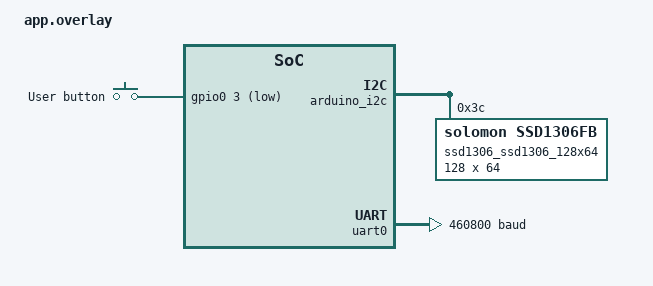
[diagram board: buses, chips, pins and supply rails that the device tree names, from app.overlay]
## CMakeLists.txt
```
# SPDX-License-Identifier: Apache-2.0

cmake_minimum_required(VERSION 3.20.0)

set(BOARD "xiao_ble_sense")
find_package(Zephyr REQUIRED HINTS $ENV{ZEPHYR_BASE})
project(ble_hid_app)

include(utils/cmake/utils.cmake)

# Needed for colorful output
zephyr_compile_options(-fdiagnostics-color=always)

# Use hardware acceleration for DSP and Neural Network code
# You'll need to disable these on non-Arm cores
add_definitions(-DEI_CLASSIFIER_TFLITE_ENABLE_CMSIS_NN=1
                -DARM_MATH_LOOPUNROLL
                )

# Add the Edge Impulse SDK
add_subdirectory(edge-impulse-sdk/cmake/zephyr)

# Edge impulse SDK include directories
set(INCLUDES
    .
    src
    tflite-model
    model-parameters
    include
    )

include_directories(${INCLUDES})


RECURSIVE_FIND_FILE(MODEL_FILES "tflite-model" "*.cpp")
list(APPEND SOURCE_FILES ${MODEL_FILES})

FILE(GLOB_RECURSE app_sources src/*.c)
list(APPEND SOURCE_FILES ${app_sources})

FILE(GLOB_RECURSE app_sources src/*.cpp)
list(APPEND SOURCE_FILES ${app_sources})

target_sources(app PRIVATE
  ${SOURCE_FILES}
  )
# target_sources(app PRIVATE src/main.cpp)
```

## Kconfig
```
# Copyright 2023 Google LLC
# SPDX-License-Identifier: Apache-2.0

mainmenu "Bluetooth: Peripheral HIDs"

config SAMPLE_BT_USE_AUTHENTICATION
	bool "Enable passkey authentication"
	default y
	help
	  Enable the passkey authentication callback and register the GATT
	  read and write attributes as authentication required.

menu "APP CONFIG"
config SHIELD_SSD1306_128X64
    def_bool y
    prompt "SSD1306 128x64 OLED Display DO NOT CHANGE"
    help
        "This is set to default to true to activate the ssd1306 related configurations"
endmenu
# Your application configuration options go here

# Sources Kconfig.zephyr in the Zephyr root directory.
#
# Note: All 'source' statements work relative to the Zephyr root directory (due
# to the $srctree environment variable being set to $ZEPHYR_BASE). If you want
# to 'source' relative to the current Kconfig file instead, use 'rsource' (or a
# path relative to the Zephyr root).

source "boards/shields/ssd1306/Kconfig.defconfig"
source "Kconfig.zephyr"
```

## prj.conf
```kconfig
# Increased stack due to settings API usage
CONFIG_SYSTEM_WORKQUEUE_STACK_SIZE=4096

CONFIG_BT=y
CONFIG_LOG=y
CONFIG_BT_SMP=y
CONFIG_BT_PERIPHERAL=y
CONFIG_BT_DIS=y
CONFIG_BT_BAS=y
CONFIG_BT_DEVICE_NAME="IMU Keyboard"
CONFIG_BT_DEVICE_APPEARANCE=962
CONFIG_SAMPLE_BT_USE_AUTHENTICATION=n

# CONFIG_BT_SETTINGS=y
# CONFIG_FLASH=y
# CONFIG_FLASH_PAGE_LAYOUT=y
# CONFIG_FLASH_MAP=y
# CONFIG_NVS=y
# CONFIG_SETTINGS=y

CONFIG_GPIO=y

# LVGL
CONFIG_LV_Z_MEM_POOL_SIZE=16384
CONFIG_LV_Z_SHELL=y
CONFIG_MAIN_STACK_SIZE=8192

CONFIG_DISPLAY=y
CONFIG_DISPLAY_LOG_LEVEL_ERR=y

CONFIG_LOG=y
CONFIG_SHELL=y

CONFIG_LVGL=y
CONFIG_LV_MEM_CUSTOM=y
CONFIG_LV_USE_LOG=y
CONFIG_LV_USE_LABEL=y
CONFIG_LV_USE_BTN=y
CONFIG_LV_USE_ARC=y
CONFIG_LV_USE_IMG=y
CONFIG_LV_USE_MONKEY=y
CONFIG_LV_FONT_MONTSERRAT_14=y

# IMU sensor
CONFIG_STDOUT_CONSOLE=y
CONFIG_I2C=y
CONFIG_SPI=y
CONFIG_SENSOR=y
CONFIG_LSM6DSL_TRIGGER_GLOBAL_THREAD=y
CONFIG_CBPRINTF_FP_SUPPORT=y
CONFIG_LSM6DSL_GYRO_FS=125
CONFIG_LSM6DSL_GYRO_ODR=5
CONFIG_LSM6DSL_ACCEL_FS=4
CONFIG_LSM6DSL_ACCEL_ODR=5

# CONFIG_LOG_MINIMAL=n
# CONFIG_RTT_CONSOLE=y
# CONFIG_USE_SEGGER_RTT=y
# CONFIG_LOG_BACKEND_RTT=y
# CONFIG_LONG_BACKEND_UART=n


CONFIG_SERIAL=y
CONFIG_UART_ASYNC_API=y
CONFIG_UART_0_INTERRUPT_DRIVEN=n


# Edge Impulse
CONFIG_CPP=y
CONFIG_GLIBCXX_LIBCPP=y
CONFIG_NEWLIB_LIBC=y
CONFIG_NEWLIB_LIBC_FLOAT_PRINTF=y
CONFIG_FPU=y
CONFIG_CONSOLE_SUBSYS=y
CONFIG_CONSOLE_GETLINE=y
CONFIG_ASSERT=y
CONFIG_LOG_PROCESS_THREAD_STACK_SIZE=1024
```

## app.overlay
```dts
#define arduino_i2c i2c1

/ {
    aliases {
            sw0 = &buttond1;
    };


    buttons {
            compatible = "gpio-keys";
            buttond1: button_0 {
                    gpios = <&gpio0 3 (GPIO_PULL_UP | GPIO_ACTIVE_LOW)>;
                    label = "User button";
            };
    };
    
    chosen {
        zephyr,display = &ssd1306_ssd1306_128x64;
    };


    compatible = "flash";
};





&arduino_i2c {
	status = "okay";

	ssd1306_ssd1306_128x64: ssd1306@3c {
		compatible = "solomon,ssd1306fb";
		reg = <0x3c>;
		width = <128>;
		height = <64>;
		segment-offset = <0>;
		page-offset = <0>;
		display-offset = <0>;
		multiplex-ratio = <63>;
		segment-remap;
		com-invdir;
		prechargep = <0x22>;
	};
};
&uart0 {
    current-speed = <460800>;
};
```

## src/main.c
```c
/* main.c - Application main entry point */

/*
 * Copyright (c) 2016 Intel Corporation
 *
 * SPDX-License-Identifier: Apache-2.0
 */

#include <zephyr/types.h>
#include <stddef.h>
#include <string.h>
#include <errno.h>
#include <zephyr/sys/printk.h>
#include <zephyr/sys/byteorder.h>
#include <zephyr/kernel.h>

#include <zephyr/settings/settings.h>

#include <zephyr/bluetooth/bluetooth.h>
#include <zephyr/bluetooth/hci.h>
#include <zephyr/bluetooth/conn.h>
#include <zephyr/bluetooth/uuid.h>
#include <zephyr/bluetooth/gatt.h>

int main(void)
{
	k_sleep(K_FOREVER);
	return 0;
}
```

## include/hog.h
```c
#ifndef HOG_H
#define HOG_H
/** @file
 *  @brief HoG Service sample
 */

/*
 * Copyright (c) 2016 Intel Corporation
 *
 * SPDX-License-Identifier: Apache-2.0
 */

#ifdef __cplusplus
extern "C" {
#endif

void hog_init(void);

void hog_button_loop(void);

typedef uint8_t zmk_mod_flags_t;
typedef uint8_t zmk_mouse_button_flags_t;
struct zmk_hid_keyboard_report_body {
    zmk_mod_flags_t modifiers;
    uint8_t _reserved;
    uint8_t keys[6]; // HKRO
} __packed;
typedef struct zmk_hid_keyboard_report_body zmk_hid_keyboard_report_body_t;

struct zmk_hid_keyboard_report {
    uint8_t report_id;
    struct zmk_hid_keyboard_report_body body;
} __packed;


struct zmk_hid_consumer_report_body {
    uint16_t keys[6];
} __packed;

struct zmk_hid_consumer_report {
    uint8_t report_id;
    struct zmk_hid_consumer_report_body body;
} __packed;

struct zmk_hid_mouse_report_body {
    zmk_mouse_button_flags_t buttons;
    int8_t d_x;
    int8_t d_y;
    int8_t d_wheel;
} __packed;
typedef struct zmk_hid_mouse_report_body zmk_hid_mouse_report_body_t;

struct zmk_hid_mouse_report {
    uint8_t report_id;
    struct zmk_hid_mouse_report_body body;
} __packed;


/**
 * @brief simulate a key press, modify the report
 * 
 * @param k key code
 * @param report pointer to the report
 * @return uint8_t 0 for fail, 1 for success
 */
uint8_t press(uint8_t k, zmk_hid_keyboard_report_body_t *report);

/**
 * @brief simulate a key release, modify the report
 * 
 * @param k key code
 * @param report pointer to the report
 * @return uint8_t 0 for fail, 1 for success
 */
uint8_t release(uint8_t k, zmk_hid_keyboard_report_body_t *report);

/**
 * @brief write a key to the host
 * 
 * @param k key code
 */
void write(uint8_t k);

/**
 * @brief write a string to the host
 * 
 * @param str string
 */
void write_string(const char *str);

extern bool ble_connected;
extern char ble_master_name[32];

#ifdef __cplusplus
}
#endif

#endif /* HOG_H */
```

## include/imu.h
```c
#ifndef IMU_H
#define IMU_H

#ifdef __cplusplus
extern "C" {
#endif

#include <Fusion/Fusion.h>

FusionEuler getEuler();

typedef struct RawIMU {
    float ax, ay, az;
    float gx, gy, gz;
} RawIMU;

typedef struct MotionState {
    float ax, ay, az, vx, vy, vz, px, py, pz;
    float qw, qx, qy, qz;
} MotionState;

typedef struct IMU {
    RawIMU raw;
    MotionState state;
} IMU;


extern float features[1800];
extern volatile bool features_ready;
extern volatile int features_counter;

#ifdef __cplusplus
}
#endif

#endif // IMU_H
```

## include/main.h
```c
#ifndef MAIN_H
#define MAIN_H

#ifdef __cplusplus
extern "C" {
#endif

extern volatile bool inference_done;
extern volatile int inference_result;

#ifdef __cplusplus
}
#endif

#endif // MAIN_H
```

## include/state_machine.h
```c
#ifndef STATE_MACHINE_H
#define STATE_MACHINE_H

#ifdef __cplusplus
extern "C" {
#endif

enum State {
    START,
    PAIR,
    PAIR_DISPLAY,
    DISCONNECT_DISPLAY,
    IDLE,
    COLLECT_DATA,
    INFERENCE,
    DISPLAY_INFERENCE
};

extern volatile State state;



#ifdef __cplusplus
}
#endif

#endif // STATE_MACHINE_H
```

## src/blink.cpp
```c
#include <zephyr/kernel.h>
#include <zephyr/drivers/gpio.h>
#include <state_machine.h>

#define MY_STACK_SIZE 500
#define MY_PRIORITY 5
#define SLEEP_TIME_MS 10


#define LED0_NODE DT_ALIAS(led0)
static const struct gpio_dt_spec red_led = GPIO_DT_SPEC_GET(LED0_NODE, gpios);

#define LED1_NODE DT_ALIAS(led1)
static const struct gpio_dt_spec green_led = GPIO_DT_SPEC_GET(LED1_NODE, gpios);

#define LED2_NODE DT_ALIAS(led2)
static const struct gpio_dt_spec blue_led = GPIO_DT_SPEC_GET(LED2_NODE, gpios);

#define RUN_LED_PERIOD 1000
#define PAIR_LED_PERIOD 100
#define CONNECTED_LED_PERIOD 2000
#define COLLECT_LED_PERIOD 100

bool run_blink = false;
int my_entry_point(void *, void *, void *)
{
    int ret;
	int counter = 0;

	gpio_pin_configure_dt(&red_led, GPIO_OUTPUT_ACTIVE);
	gpio_pin_configure_dt(&green_led, GPIO_OUTPUT_ACTIVE);
	gpio_pin_configure_dt(&blue_led, GPIO_OUTPUT_ACTIVE);
	gpio_pin_set_dt(&red_led, 0);
	gpio_pin_set_dt(&green_led, 0);
	gpio_pin_set_dt(&blue_led, 0);

	while (1) {

		if (run_blink && counter % RUN_LED_PERIOD == 0)
		{
			ret = gpio_pin_toggle_dt(&red_led);
		}

		// blue led states
		if (state == PAIR)
		{
			if (counter % PAIR_LED_PERIOD == 0)
			{
				ret = gpio_pin_toggle_dt(&blue_led);
			}
		} else if (state != START && state != DISCONNECT_DISPLAY)
		{
			if (counter % CONNECTED_LED_PERIOD > 50)
			{
				ret = gpio_pin_set_dt(&blue_led, 0);
			} else 
			{
				ret = gpio_pin_set_dt(&blue_led, 1);
			}
		}

		// green led states
		if (state == IDLE)
		{
			ret = gpio_pin_set_dt(&green_led, 1);
		} else if (state == COLLECT_DATA)
		{
			if (counter % COLLECT_LED_PERIOD == 0)
			{
				ret = gpio_pin_toggle_dt(&green_led);
			}
		} else
		{
			ret = gpio_pin_set_dt(&green_led, 0);
		}

		counter += SLEEP_TIME_MS;
		k_msleep(SLEEP_TIME_MS);
	}
	return 0;
}

K_THREAD_DEFINE(my_tid, MY_STACK_SIZE,
                my_entry_point, NULL, NULL, NULL,
                MY_PRIORITY, 0, 0);
```

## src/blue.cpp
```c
/* main.c - Application main entry point */

/*
 * Copyright (c) 2016 Intel Corporation
 *
 * SPDX-License-Identifier: Apache-2.0
 */

#include <zephyr/types.h>
#include <stddef.h>
#include <string.h>
#include <errno.h>
#include <zephyr/sys/printk.h>
#include <zephyr/sys/byteorder.h>
#include <zephyr/kernel.h>

#include <zephyr/settings/settings.h>

#include <zephyr/bluetooth/bluetooth.h>
#include <zephyr/bluetooth/hci.h>
#include <zephyr/bluetooth/conn.h>
#include <zephyr/bluetooth/uuid.h>
#include <zephyr/bluetooth/gatt.h>

#include "hog.h"
```

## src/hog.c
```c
/** @file
 *  @brief HoG Service sample
 */

/*
 * Copyright (c) 2016 Intel Corporation
 *
 * SPDX-License-Identifier: Apache-2.0
 */

#include <zephyr/types.h>
#include <zephyr/drivers/gpio.h>
#include <stddef.h>
#include <string.h>
#include <errno.h>
#include <zephyr/sys/printk.h>
#include <zephyr/sys/byteorder.h>
#include <zephyr/kernel.h>

#include <zephyr/bluetooth/bluetooth.h>
#include <zephyr/bluetooth/hci.h>
#include <zephyr/bluetooth/conn.h>
#include <zephyr/bluetooth/uuid.h>
#include <zephyr/bluetooth/gatt.h>

#include <zephyr/usb/usb_device.h>
#include <zephyr/usb/class/usb_hid.h>

#include <dt-bindings/zmk/hid_usage.h>
#include <dt-bindings/zmk/hid_usage_pages.h>
#include <hog.h>

enum {
	HIDS_REMOTE_WAKE = BIT(0),
	HIDS_NORMALLY_CONNECTABLE = BIT(1)
};

struct hids_info {
	uint16_t version; /* version number of base USB HID Specification */
	uint8_t code; /* country HID Device hardware is localized for. */
	uint8_t flags;
} __packed;

struct hids_report {
	uint8_t id; /* report id */
	uint8_t type; /* report type */
} __packed;

static struct hids_info info = {
	.version = 0x0000,
	.code = 0x00,
	.flags = HIDS_NORMALLY_CONNECTABLE | HIDS_REMOTE_WAKE,
};

enum {
	HIDS_INPUT = 0x01,
	HIDS_OUTPUT = 0x02,
	HIDS_FEATURE = 0x03,
};

static struct hids_report input = {
	.id = 0x01,
	.type = HIDS_INPUT,
};

static struct hids_report consumer_input = {
    .id = 0x02,
    .type = HIDS_INPUT,
};

static struct hids_report mouse_input = {
    .id = 0x03,
    .type = HIDS_INPUT,
};

static uint8_t simulate_input; // host_requests_notification in zmk
static uint8_t ctrl_point;

#define ZMK_HID_MOUSE_NUM_BUTTONS 0x05

#define ZMK_HID_MAIN_VAL_DATA (0x00 << 0)
#define ZMK_HID_MAIN_VAL_CONST (0x01 << 0)

#define ZMK_HID_MAIN_VAL_ARRAY (0x00 << 1)
#define ZMK_HID_MAIN_VAL_VAR (0x01 << 1)

#define ZMK_HID_MAIN_VAL_ABS (0x00 << 2)
#define ZMK_HID_MAIN_VAL_REL (0x01 << 2)

#define ZMK_HID_MAIN_VAL_NO_WRAP (0x00 << 3)
#define ZMK_HID_MAIN_VAL_WRAP (0x01 << 3)

#define ZMK_HID_MAIN_VAL_LIN (0x00 << 4)
#define ZMK_HID_MAIN_VAL_NON_LIN (0x01 << 4)

#define ZMK_HID_MAIN_VAL_PREFERRED (0x00 << 5)
#define ZMK_HID_MAIN_VAL_NO_PREFERRED (0x01 << 5)

#define ZMK_HID_MAIN_VAL_NO_NULL (0x00 << 6)
#define ZMK_HID_MAIN_VAL_NULL (0x01 << 6)

#define ZMK_HID_MAIN_VAL_NON_VOL (0x00 << 7)
#define ZMK_HID_MAIN_VAL_VOL (0x01 << 7)

#define ZMK_HID_MAIN_VAL_BIT_FIELD (0x00 << 8)
#define ZMK_HID_MAIN_VAL_BUFFERED_BYTES (0x01 << 8)
#define ZMK_HID_REPORT_ID_KEYBOARD 0x01
#define ZMK_HID_REPORT_ID_LEDS 0x01
#define ZMK_HID_REPORT_ID_CONSUMER 0x02
#define ZMK_HID_REPORT_ID_MOUSE 0x03

// ZMK report map
static const uint8_t zmk_hid_report_desc[] = {
    HID_USAGE_PAGE(HID_USAGE_GEN_DESKTOP),
    HID_USAGE(HID_USAGE_GD_KEYBOARD),
    HID_COLLECTION(HID_COLLECTION_APPLICATION),
    HID_REPORT_ID(ZMK_HID_REPORT_ID_KEYBOARD),
    HID_USAGE_PAGE(HID_USAGE_KEY),
    HID_USAGE_MIN8(HID_USAGE_KEY_KEYBOARD_LEFTCONTROL),
    HID_USAGE_MAX8(HID_USAGE_KEY_KEYBOARD_RIGHT_GUI),
    HID_LOGICAL_MIN8(0x00),
    HID_LOGICAL_MAX8(0x01),

    HID_REPORT_SIZE(0x01),
    HID_REPORT_COUNT(0x08),
    HID_INPUT(ZMK_HID_MAIN_VAL_DATA | ZMK_HID_MAIN_VAL_VAR | ZMK_HID_MAIN_VAL_ABS),

    HID_USAGE_PAGE(HID_USAGE_KEY),
    HID_REPORT_SIZE(0x08),
    HID_REPORT_COUNT(0x01),
    HID_INPUT(ZMK_HID_MAIN_VAL_CONST | ZMK_HID_MAIN_VAL_VAR | ZMK_HID_MAIN_VAL_ABS),

    HID_USAGE_PAGE(HID_USAGE_KEY),

    // HKRO
    HID_LOGICAL_MIN8(0x00),
    HID_LOGICAL_MAX16(0xFF, 0x00),
    HID_USAGE_MIN8(0x00),
    HID_USAGE_MAX8(0xFF),
    HID_REPORT_SIZE(0x08),
    HID_REPORT_COUNT(6),//CONFIG_ZMK_HID_KEYBOARD_REPORT_SIZE),
    HID_INPUT(ZMK_HID_MAIN_VAL_DATA | ZMK_HID_MAIN_VAL_ARRAY | ZMK_HID_MAIN_VAL_ABS),

    HID_END_COLLECTION,
    HID_USAGE_PAGE(HID_USAGE_CONSUMER),
    HID_USAGE(HID_USAGE_CONSUMER_CONSUMER_CONTROL),
    HID_COLLECTION(HID_COLLECTION_APPLICATION),
    HID_REPORT_ID(ZMK_HID_REPORT_ID_CONSUMER),
    HID_USAGE_PAGE(HID_USAGE_CONSUMER),

    // Consumer report
    HID_LOGICAL_MIN8(0x00),
    HID_LOGICAL_MAX16(0xFF, 0x0F),
    HID_USAGE_MIN8(0x00),
    HID_USAGE_MAX16(0xFF, 0x0F),
    HID_REPORT_SIZE(0x10),
    HID_REPORT_COUNT(6),//CONFIG_ZMK_HID_CONSUMER_REPORT_SIZE),
    HID_INPUT(ZMK_HID_MAIN_VAL_DATA | ZMK_HID_MAIN_VAL_ARRAY | ZMK_HID_MAIN_VAL_ABS),
    HID_END_COLLECTION,

    // Mouse report
    HID_USAGE_PAGE(HID_USAGE_GD),
    HID_USAGE(HID_USAGE_GD_MOUSE),
    HID_COLLECTION(HID_COLLECTION_APPLICATION),
    HID_REPORT_ID(ZMK_HID_REPORT_ID_MOUSE),
    HID_USAGE(HID_USAGE_GD_POINTER),
    HID_COLLECTION(HID_COLLECTION_PHYSICAL),
    HID_USAGE_PAGE(HID_USAGE_BUTTON),
    HID_USAGE_MIN8(0x1),
    HID_USAGE_MAX8(ZMK_HID_MOUSE_NUM_BUTTONS),
    HID_LOGICAL_MIN8(0x00),
    HID_LOGICAL_MAX8(0x01),
    HID_REPORT_SIZE(0x01),
    HID_REPORT_COUNT(0x5),
    HID_INPUT(ZMK_HID_MAIN_VAL_DATA | ZMK_HID_MAIN_VAL_VAR | ZMK_HID_MAIN_VAL_ABS),
    // Constant padding for the last 3 bits.
    HID_REPORT_SIZE(0x03),
    HID_REPORT_COUNT(0x01),
    HID_INPUT(ZMK_HID_MAIN_VAL_CONST | ZMK_HID_MAIN_VAL_VAR | ZMK_HID_MAIN_VAL_ABS),
    // Some OSes ignore pointer devices without X/Y data.
    HID_USAGE_PAGE(HID_USAGE_GEN_DESKTOP),
    HID_USAGE(HID_USAGE_GD_X),
    HID_USAGE(HID_USAGE_GD_Y),
    HID_USAGE(HID_USAGE_GD_WHEEL),
    HID_LOGICAL_MIN8(-0x7F),
    HID_LOGICAL_MAX8(0x7F),
    HID_REPORT_SIZE(0x08),
    HID_REPORT_COUNT(0x03),
    HID_INPUT(ZMK_HID_MAIN_VAL_DATA | ZMK_HID_MAIN_VAL_VAR | ZMK_HID_MAIN_VAL_REL),
    HID_END_COLLECTION,
    HID_END_COLLECTION,
};


// buffers
static struct zmk_hid_keyboard_report keyboard_report = {

    .report_id = 0x01, .body = {.modifiers = 0, ._reserved = 0, .keys = {0}}};

static struct zmk_hid_consumer_report consumer_report = {.report_id = 0x02,
                                                         .body = {.keys = {0}}};

static struct zmk_hid_mouse_report mouse_report = {.report_id = 0x03,
                                                   .body = {.buttons = 0}};

struct zmk_hid_keyboard_report *zmk_hid_get_keyboard_report(void) {
    return &keyboard_report;
}

struct zmk_hid_consumer_report *zmk_hid_get_consumer_report(void) {
    return &consumer_report;
}

struct zmk_hid_mouse_report *zmk_hid_get_mouse_report(void) {
    return &mouse_report;
}

/* begin zmk read functions */
static ssize_t read_hids_info(struct bt_conn *conn, const struct bt_gatt_attr *attr, void *buf,
                              uint16_t len, uint16_t offset) {
    return bt_gatt_attr_read(conn, attr, buf, len, offset, attr->user_data,
                             sizeof(struct hids_info));
} // note this is the same as read_info

static ssize_t read_hids_report_ref(struct bt_conn *conn, const struct bt_gatt_attr *attr,
                                    void *buf, uint16_t len, uint16_t offset) {
    return bt_gatt_attr_read(conn, attr, buf, len, offset, attr->user_data,
                             sizeof(struct hids_report));
} // note this is the same as read_report

static ssize_t read_hids_report_map(struct bt_conn *conn, const struct bt_gatt_attr *attr,
                                    void *buf, uint16_t len, uint16_t offset) {
    return bt_gatt_attr_read(conn, attr, buf, len, offset, zmk_hid_report_desc,
                             sizeof(zmk_hid_report_desc));
}

static ssize_t read_hids_input_report(struct bt_conn *conn, const struct bt_gatt_attr *attr,
                                      void *buf, uint16_t len, uint16_t offset) {
    struct zmk_hid_keyboard_report_body *report_body = &zmk_hid_get_keyboard_report()->body;
    return bt_gatt_attr_read(conn, attr, buf, len, offset, report_body,
                             sizeof(struct zmk_hid_keyboard_report_body));
}

static ssize_t read_hids_consumer_input_report(struct bt_conn *conn,
                                               const struct bt_gatt_attr *attr, void *buf,
                                               uint16_t len, uint16_t offset) {
    struct zmk_hid_consumer_report_body *report_body = &zmk_hid_get_consumer_report()->body;
    return bt_gatt_attr_read(conn, attr, buf, len, offset, report_body,
                             sizeof(struct zmk_hid_consumer_report_body));
}

static ssize_t read_hids_mouse_input_report(struct bt_conn *conn, const struct bt_gatt_attr *attr,
                                            void *buf, uint16_t len, uint16_t offset) {
    struct zmk_hid_mouse_report_body *report_body = &zmk_hid_get_mouse_report()->body;
    return bt_gatt_attr_read(conn, attr, buf, len, offset, report_body,
                             sizeof(struct zmk_hid_mouse_report_body));
}
/* end zmk read functions */



static void input_ccc_changed(const struct bt_gatt_attr *attr, uint16_t value)
{
	simulate_input = (value == BT_GATT_CCC_NOTIFY) ? 1 : 0;
}


static ssize_t write_ctrl_point(struct bt_conn *conn,
				const struct bt_gatt_attr *attr,
				const void *buf, uint16_t len, uint16_t offset,
				uint8_t flags)
{
	uint8_t *value = attr->user_data;

	if (offset + len > sizeof(ctrl_point)) {
		return BT_GATT_ERR(BT_ATT_ERR_INVALID_OFFSET);
	}

	memcpy(value + offset, buf, len);

	return len;
}

#if CONFIG_SAMPLE_BT_USE_AUTHENTICATION
/* Require encryption using authenticated link-key. */
#define SAMPLE_BT_PERM_READ BT_GATT_PERM_READ_AUTHEN
#define SAMPLE_BT_PERM_WRITE BT_GATT_PERM_WRITE_AUTHEN
#else
/* Require encryption. */
#define SAMPLE_BT_PERM_READ BT_GATT_PERM_READ_ENCRYPT
#define SAMPLE_BT_PERM_WRITE BT_GATT_PERM_WRITE_ENCRYPT
#endif

/* HID Service Declaration */
BT_GATT_SERVICE_DEFINE(
    hog_svc, BT_GATT_PRIMARY_SERVICE(BT_UUID_HIDS),
    //    BT_GATT_CHARACTERISTIC(BT_UUID_HIDS_PROTOCOL_MODE, BT_GATT_CHRC_WRITE_WITHOUT_RESP,
    //                           BT_GATT_PERM_WRITE, NULL, write_proto_mode, &proto_mode),
    BT_GATT_CHARACTERISTIC(BT_UUID_HIDS_INFO, BT_GATT_CHRC_READ, BT_GATT_PERM_READ, read_hids_info,
                           NULL, &info),
    BT_GATT_CHARACTERISTIC(BT_UUID_HIDS_REPORT_MAP, BT_GATT_CHRC_READ, BT_GATT_PERM_READ_ENCRYPT,
                           read_hids_report_map, NULL, NULL),

    BT_GATT_CHARACTERISTIC(BT_UUID_HIDS_REPORT, BT_GATT_CHRC_READ | BT_GATT_CHRC_NOTIFY,
                           BT_GATT_PERM_READ_ENCRYPT, read_hids_input_report, NULL, NULL),
    BT_GATT_CCC(input_ccc_changed, BT_GATT_PERM_READ_ENCRYPT | BT_GATT_PERM_WRITE_ENCRYPT),
    BT_GATT_DESCRIPTOR(BT_UUID_HIDS_REPORT_REF, BT_GATT_PERM_READ_ENCRYPT, read_hids_report_ref,
                       NULL, &input),

    BT_GATT_CHARACTERISTIC(BT_UUID_HIDS_REPORT, BT_GATT_CHRC_READ | BT_GATT_CHRC_NOTIFY,
                           BT_GATT_PERM_READ_ENCRYPT, read_hids_consumer_input_report, NULL, NULL),
    BT_GATT_CCC(input_ccc_changed, BT_GATT_PERM_READ_ENCRYPT | BT_GATT_PERM_WRITE_ENCRYPT),
    BT_GATT_DESCRIPTOR(BT_UUID_HIDS_REPORT_REF, BT_GATT_PERM_READ_ENCRYPT, read_hids_report_ref,
                       NULL, &consumer_input),

    BT_GATT_CHARACTERISTIC(BT_UUID_HIDS_REPORT, BT_GATT_CHRC_READ | BT_GATT_CHRC_NOTIFY,
                           BT_GATT_PERM_READ_ENCRYPT, read_hids_mouse_input_report, NULL, NULL),
    BT_GATT_CCC(input_ccc_changed, BT_GATT_PERM_READ_ENCRYPT | BT_GATT_PERM_WRITE_ENCRYPT),
    BT_GATT_DESCRIPTOR(BT_UUID_HIDS_REPORT_REF, BT_GATT_PERM_READ_ENCRYPT, read_hids_report_ref,
                       NULL, &mouse_input),

    BT_GATT_CHARACTERISTIC(BT_UUID_HIDS_CTRL_POINT, BT_GATT_CHRC_WRITE_WITHOUT_RESP,
                           BT_GATT_PERM_WRITE, NULL, write_ctrl_point, &ctrl_point));


void hog_init(void)
{
}

#define SW0_NODE DT_ALIAS(sw0)
#define SHIFT 0x80
const uint8_t _asciimap[128] =
{
	0x00,             // NUL
	0x00,             // SOH
	0x00,             // STX
	0x00,             // ETX
	0x00,             // EOT
	0x00,             // ENQ
	0x00,             // ACK
	0x00,             // BEL
	0x2a,			// BS	Backspace
	0x2b,			// TAB	Tab
	0x28,			// LF	Enter
	0x00,             // VT
	0x00,             // FF
	0x00,             // CR
	0x00,             // SO
	0x00,             // SI
	0x00,             // DEL
	0x00,             // DC1
	0x00,             // DC2
	0x00,             // DC3
	0x00,             // DC4
	0x00,             // NAK
	0x00,             // SYN
	0x00,             // ETB
	0x00,             // CAN
	0x00,             // EM
	0x00,             // SUB
	0x00,             // ESC
	0x00,             // FS
	0x00,             // GS
	0x00,             // RS
	0x00,             // US

	0x2c,		   //  ' '
	0x1e|SHIFT,	   // !
	0x34|SHIFT,	   // "
	0x20|SHIFT,    // #
	0x21|SHIFT,    // $
	0x22|SHIFT,    // %
	0x24|SHIFT,    // &
	0x34,          // '
	0x26|SHIFT,    // (
	0x27|SHIFT,    // )
	0x25|SHIFT,    // *
	0x2e|SHIFT,    // +
	0x36,          // ,
	0x2d,          // -
	0x37,          // .
	0x38,          // /
	0x27,          // 0
	0x1e,          // 1
	0x1f,          // 2
	0x20,          // 3
	0x21,          // 4
	0x22,          // 5
	0x23,          // 6
	0x24,          // 7
	0x25,          // 8
	0x26,          // 9
	0x33|SHIFT,      // :
	0x33,          // ;
	0x36|SHIFT,      // <
	0x2e,          // =
	0x37|SHIFT,      // >
	0x38|SHIFT,      // ?
	0x1f|SHIFT,      // @
	0x04|SHIFT,      // A
	0x05|SHIFT,      // B
	0x06|SHIFT,      // C
	0x07|SHIFT,      // D
	0x08|SHIFT,      // E
	0x09|SHIFT,      // F
	0x0a|SHIFT,      // G
	0x0b|SHIFT,      // H
	0x0c|SHIFT,      // I
	0x0d|SHIFT,      // J
	0x0e|SHIFT,      // K
	0x0f|SHIFT,      // L
	0x10|SHIFT,      // M
	0x11|SHIFT,      // N
	0x12|SHIFT,      // O
	0x13|SHIFT,      // P
	0x14|SHIFT,      // Q
	0x15|SHIFT,      // R
	0x16|SHIFT,      // S
	0x17|SHIFT,      // T
	0x18|SHIFT,      // U
	0x19|SHIFT,      // V
	0x1a|SHIFT,      // W
	0x1b|SHIFT,      // X
	0x1c|SHIFT,      // Y
	0x1d|SHIFT,      // Z
	0x2f,          // [
	0x31,          // bslash
	0x30,          // ]
	0x23|SHIFT,    // ^
	0x2d|SHIFT,    // _
	0x35,          // `
	0x04,          // a
	0x05,          // b
	0x06,          // c
	0x07,          // d
	0x08,          // e
	0x09,          // f
	0x0a,          // g
	0x0b,          // h
	0x0c,          // i
	0x0d,          // j
	0x0e,          // k
	0x0f,          // l
	0x10,          // m
	0x11,          // n
	0x12,          // o
	0x13,          // p
	0x14,          // q
	0x15,          // r
	0x16,          // s
	0x17,          // t
	0x18,          // u
	0x19,          // v
	0x1a,          // w
	0x1b,          // x
	0x1c,          // y
	0x1d,          // z
	0x2f|SHIFT,    // {
	0x31|SHIFT,    // |
	0x30|SHIFT,    // }
	0x35|SHIFT,    // ~
	0				// DEL
};

uint8_t press(uint8_t k, zmk_hid_keyboard_report_body_t *report)
{
	uint8_t i;
	if (k >= 136) {			// it's a non-printing key (not a modifier)
		k = k - 136;
	} else if (k >= 128) {	// it's a modifier key
        report->modifiers |= (1 << (k - 128));
		k = 0;
	} else {				// it's a printing key
		k = *(_asciimap + k);
		if (!k) {
			return 0;
		}
		if (k & 0x80) {						// it's a capital letter or other character reached with shift
            report->modifiers |= 0x02; // the left shift modifier
			k &= 0x7F;
		}
	}

	// Add k to the key report only if it's not already present
	// and if there is an empty slot.
	if (report->keys[0] != k && report->keys[1] != k &&
		report->keys[2] != k && report->keys[3] != k &&
		report->keys[4] != k && report->keys[5] != k) {

		for (i=0; i<6; i++) {
			if (report->keys[i] == 0x00) {
				report->keys[i] = k;
				break;
			}
		}
		if (i == 6) {
			return 0;
		}
	}
	return 1;
}

uint8_t release(uint8_t k, zmk_hid_keyboard_report_body_t *report)
{
    uint8_t i;
    if (k >= 136) {			// it's a non-printing key (not a modifier)
        k = k - 136;
    } else if (k >= 128) {	// it's a modifier key
        report->modifiers &= ~(1 << (k - 128));
        k = 0;
    } else {				// it's a printing key
        k = *(_asciimap + k);
        if (!k) {
            return 0;
        }
        if (k & 0x80) {						// it's a capital letter or other character reached with shift
            report->modifiers |= 0x02; // the left shift modifier
            k &= 0x7F;
        }
    }

    // Test the key report to see if k is present.  Clear it if it exists.
    for (i=0; i<6; i++) {
        if (report->keys[i] == k) {
            report->keys[i] = 0x00;
            break;
        }
    }
    return 1;
}

void write(uint8_t k)
{
    zmk_hid_keyboard_report_body_t keyboard_report;
    keyboard_report.modifiers = 0x00;
    keyboard_report._reserved = 0x00;
    keyboard_report.keys[0] = 0x00;
    keyboard_report.keys[1] = 0x00;
    keyboard_report.keys[2] = 0x00;
    keyboard_report.keys[3] = 0x00;
    keyboard_report.keys[4] = 0x00;
    keyboard_report.keys[5] = 0x00;

    if (press(k, &keyboard_report)) {
        bt_gatt_notify(NULL, &hog_svc.attrs[5],
                        &keyboard_report, sizeof(keyboard_report)); // keyboard report template
    }
    // k_sleep(K_MSEC(50));
    if (release(k, &keyboard_report)) {
        bt_gatt_notify(NULL, &hog_svc.attrs[5],
                        &keyboard_report, sizeof(keyboard_report)); // keyboard report template
    }
}

void write_string(const char *str)
{
    while (*str) {
        write(*str++);
    }
}

void hog_button_loop(void)
{
// #if DT_NODE_HAS_STATUS(SW0_NODE, okay)
// 	const struct gpio_dt_spec sw0 = GPIO_DT_SPEC_GET(SW0_NODE, gpios);

// 	gpio_pin_configure_dt(&sw0, GPIO_INPUT);
    char asciiChar = ' ';
    int last_button_state = 0;

	for (;;) {
		if (simulate_input) {
			// keyboard report test
            zmk_hid_keyboard_report_body_t keyboard_report;
            keyboard_report.modifiers = 0x00;
            keyboard_report._reserved = 0x00;
            keyboard_report.keys[0] = 0x00;
            keyboard_report.keys[1] = 0x00;
            keyboard_report.keys[2] = 0x00;
            keyboard_report.keys[3] = 0x00;
            keyboard_report.keys[4] = 0x00;
            keyboard_report.keys[5] = 0x00;
            // int button_state = gpio_pin_get_dt(&sw0);

            // if (last_button_state == 0 && button_state == 1) {
            //     write_string("Hello World\n\n\0");
            //     // write(asciiChar);
            //     // printk("Button pressed\n");
            //     // printk("asciiChar: %c\n", asciiChar);
            //     // printk("asciiChar: %d\n", asciiChar);
            //     // asciiChar++;
            // }

            // bt_gatt_notify(NULL, &hog_svc.attrs[5],
            //                 &keyboard_report, sizeof(keyboard_report)); // keyboard report template
            // last_button_state = button_state;
            

            // if (asciiChar > 'z') {
            //     asciiChar = 'A';
            // } else if (asciiChar > 'Z') {
            //     asciiChar = '0';
            // } else if (asciiChar > '9') {
            //     asciiChar = ' ';
            // } else if (asciiChar > ' ') {
            //     asciiChar = '\n';
            // } else if (asciiChar > '\n') {
            //     asciiChar = 'a';
            // }

            // mouse report test
            // zmk_hid_mouse_report_body_t mouse_report;
            // mouse_report.buttons = 0x00;
            // mouse_report.d_x = 0;
            // mouse_report.d_y = 0;
            // mouse_report.d_wheel = 0x00;

			// if (gpio_pin_get_dt(&sw0)) {
            //     printk("Button pressed\n");
            //     mouse_report.buttons = 0x01;
			// }

			// bt_gatt_notify(NULL, &hog_svc.attrs[13],
			// 	        &mouse_report, sizeof(mouse_report)); // mouse report template
		}
		k_sleep(K_MSEC(100));
	}
// #endif
}


static const struct bt_data ad[] = {
	BT_DATA_BYTES(BT_DATA_FLAGS, (BT_LE_AD_GENERAL | BT_LE_AD_NO_BREDR)),
	BT_DATA_BYTES(BT_DATA_UUID16_ALL,
		      BT_UUID_16_ENCODE(BT_UUID_HIDS_VAL),
		      BT_UUID_16_ENCODE(BT_UUID_BAS_VAL)),
};

bool ble_connected = false;
char ble_master_name[32] = {0};

static void connected(struct bt_conn *conn, uint8_t err)
{
	char addr[BT_ADDR_LE_STR_LEN];

	bt_addr_le_to_str(bt_conn_get_dst(conn), addr, sizeof(addr));

	if (err) {
		printk("Failed to connect to %s (%u)\n", addr, err);
		return;
	}

	printk("Connected %s\n", addr);
	ble_connected = true;
	ble_master_name[0] = '\0';
	strcpy(ble_master_name, addr);

	if (bt_conn_set_security(conn, BT_SECURITY_L2)) {
		printk("Failed to set security\n");
	}
}

static void disconnected(struct bt_conn *conn, uint8_t reason)
{
	char addr[BT_ADDR_LE_STR_LEN];

	bt_addr_le_to_str(bt_conn_get_dst(conn), addr, sizeof(addr));
	ble_connected = false;
	ble_master_name[0] = '\0';
	strcpy(ble_master_name, addr);


	printk("Disconnected from %s (reason 0x%02x)\n", addr, reason);
}

static void security_changed(struct bt_conn *conn, bt_security_t level,
			     enum bt_security_err err)
{
	char addr[BT_ADDR_LE_STR_LEN];

	bt_addr_le_to_str(bt_conn_get_dst(conn), addr, sizeof(addr));

	if (!err) {
		printk("Security changed: %s level %u\n", addr, level);
	} else {
		printk("Security failed: %s level %u err %d\n", addr, level,
		       err);
	}
}

BT_CONN_CB_DEFINE(conn_callbacks) = {
	.connected = connected,
	.disconnected = disconnected,
	.security_changed = security_changed,
};

static void bt_ready(int err)
{
	if (err) {
		printk("Bluetooth init failed (err %d)\n", err);
		return;
	}

	printk("Bluetooth initialized\n");

	hog_init();

	if (IS_ENABLED(CONFIG_SETTINGS)) {
		settings_load();
	}

	err = bt_le_adv_start(BT_LE_ADV_CONN_NAME, ad, ARRAY_SIZE(ad), NULL, 0);
	if (err) {
		printk("Advertising failed to start (err %d)\n", err);
		return;
	}

	printk("Advertising successfully started\n");
}

static void auth_passkey_display(struct bt_conn *conn, unsigned int passkey)
{
	char addr[BT_ADDR_LE_STR_LEN];

	bt_addr_le_to_str(bt_conn_get_dst(conn), addr, sizeof(addr));

	printk("Passkey for %s: %06u\n", addr, passkey);
}

static void auth_cancel(struct bt_conn *conn)
{
	char addr[BT_ADDR_LE_STR_LEN];

	bt_addr_le_to_str(bt_conn_get_dst(conn), addr, sizeof(addr));

	printk("Pairing cancelled: %s\n", addr);
}

static struct bt_conn_auth_cb auth_cb_display = {
	.passkey_display = auth_passkey_display,
	.passkey_entry = NULL,
	.cancel = auth_cancel,
};

int blue_task(void)
{
	int err;

	err = bt_enable(bt_ready);
	if (err) {
		printk("Bluetooth init failed (err %d)\n", err);
		return 0;
	}

	if (IS_ENABLED(CONFIG_SAMPLE_BT_USE_AUTHENTICATION)) {
		bt_conn_auth_cb_register(&auth_cb_display);
		printk("Bluetooth authentication callbacks registered.\n");
	}

	hog_button_loop();
	return 0;
}

K_THREAD_DEFINE(blue_thread, 1024, blue_task, NULL, NULL, NULL, 5, 0, 0);
```

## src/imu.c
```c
#include <zephyr/device.h>
#include <zephyr/devicetree.h>
#include <zephyr/drivers/sensor.h>
#include <zephyr/drivers/gpio.h>
#include <zephyr/kernel.h>
#include <imu.h>
#include <zephyr/drivers/uart.h>

FusionEuler euler;

FusionEuler getEuler()
{
	return euler;
}

#define SAMPLE_PERIOD (0.01f) // replace this with actual sample period

#define LOG_LEVEL CONFIG_LOG_DEFAULT_LEVEL
#include <zephyr/logging/log.h>
LOG_MODULE_REGISTER(imu);

static inline float out_ev(struct sensor_value *val)
{
	return (val->val1 + (float)val->val2 / 1000000);
}

static int print_samples;
static int lsm6dsl_trig_cnt;

static struct sensor_value accel_x_out, accel_y_out, accel_z_out;
static struct sensor_value gyro_x_out, gyro_y_out, gyro_z_out;

#ifdef CONFIG_LSM6DSL_TRIGGER
static void lsm6dsl_trigger_handler(const struct device *dev,
				    const struct sensor_trigger *trig)
{
	static struct sensor_value accel_x, accel_y, accel_z;
	static struct sensor_value gyro_x, gyro_y, gyro_z;

	lsm6dsl_trig_cnt++;

	sensor_sample_fetch_chan(dev, SENSOR_CHAN_ACCEL_XYZ);
	sensor_channel_get(dev, SENSOR_CHAN_ACCEL_X, &accel_x);
	sensor_channel_get(dev, SENSOR_CHAN_ACCEL_Y, &accel_y);
	sensor_channel_get(dev, SENSOR_CHAN_ACCEL_Z, &accel_z);

	/* lsm6dsl gyro */
	sensor_sample_fetch_chan(dev, SENSOR_CHAN_GYRO_XYZ);
	sensor_channel_get(dev, SENSOR_CHAN_GYRO_X, &gyro_x);
	sensor_channel_get(dev, SENSOR_CHAN_GYRO_Y, &gyro_y);
	sensor_channel_get(dev, SENSOR_CHAN_GYRO_Z, &gyro_z);

	accel_x_out = accel_x;
	accel_y_out = accel_y;
	accel_z_out = accel_z;

	gyro_x_out = gyro_x;
	gyro_y_out = gyro_y;
	gyro_z_out = gyro_z;

}
#endif

#define ATL_LOCAL_G (9.80665f)

#define UART_DEVICE_NODE DT_NODELABEL(xiao_serial)
static const struct device *const uart_dev = DEVICE_DT_GET(UART_DEVICE_NODE);

bool uartSending = false;
void uart_dma_cb(const struct device *dev, struct uart_event *evt, void *user_data)
{
	if (evt->type == UART_TX_DONE) {
		uartSending = false;
	} else if (evt->type == UART_TX_ABORTED) {
		uartSending = false;
	}
}

IMU imu = {0};

#define CH_COUNT 7
struct Frame {
	float fdata[CH_COUNT];
	unsigned char tail[4];
} __attribute__((packed));

struct Frame frame = {
	.tail = {0x00, 0x00, 0x80, 0x7f}
};


float features[1800] = {0};
bool features_ready = false;

static int features_counter = 0;
#define SW0_NODE DT_ALIAS(sw0)

int imu_task(void)
{
    int cnt = 0;
	char out_str[64];
	struct sensor_value odr_attr;
	const struct device *const lsm6dsl_dev = DEVICE_DT_GET_ONE(st_lsm6dsl);

	if (!device_is_ready(lsm6dsl_dev)) {
		printk("sensor: device not ready.\n");
		return 0;
	}

	/* set accel/gyro sampling frequency to 104 Hz */
	// odr_attr.val1 = 104;
	// odr_attr.val2 = 0;

	// if (sensor_attr_set(lsm6dsl_dev, SENSOR_CHAN_ACCEL_XYZ,
	// 		    SENSOR_ATTR_SAMPLING_FREQUENCY, &odr_attr) < 0) {
	// 	printk("Cannot set sampling frequency for accelerometer.\n");
	// 	return 0;
	// }

	// if (sensor_attr_set(lsm6dsl_dev, SENSOR_CHAN_GYRO_XYZ,
	// 		    SENSOR_ATTR_SAMPLING_FREQUENCY, &odr_attr) < 0) {
	// 	printk("Cannot set sampling frequency for gyro.\n");
	// 	return 0;
	// }

#ifdef CONFIG_LSM6DSL_TRIGGER
	struct sensor_trigger trig;

	trig.type = SENSOR_TRIG_DATA_READY;
	trig.chan = SENSOR_CHAN_ACCEL_XYZ;

	if (sensor_trigger_set(lsm6dsl_dev, &trig, lsm6dsl_trigger_handler) != 0) {
		printk("Could not set sensor type and channel\n");
		return 0;
	}
#endif

	if (sensor_sample_fetch(lsm6dsl_dev) < 0) {
		printk("Sensor sample update error\n");
		return 0;
	}
	
	const struct gpio_dt_spec sw0 = GPIO_DT_SPEC_GET(SW0_NODE, gpios);

	gpio_pin_configure_dt(&sw0, GPIO_INPUT);
	int last_state = 0;

	printk("Sampling accelerometer/gyro... (press button to start)\n");

    uint32_t count = 0;

	FusionAhrs ahrs;
	// TODO add calibration here
    FusionAhrsInitialise(&ahrs);

	// prepare the UART
	if (!device_is_ready(uart_dev)) {
		printk("UART device not ready\n");
		while (1)
			;
	}

	int ret = uart_callback_set(uart_dev, uart_dma_cb, NULL);
	if (ret < 0) {
		if (ret == -ENOTSUP) {
			printk("Async UART API support not enabled\n");
		} else if (ret == -ENOSYS) {
			printk("UART device does not support Async API\n");
		} else {
			printk("Error setting UART callback: %d\n", ret);
		}
		while (1) {
			printk("Error setting UART callback\n");
			k_msleep(1000);
		}
	}

	sprintf(out_str, "hello world\n");
	uart_tx(uart_dev, out_str, strlen(out_str), SYS_FOREVER_US);
	bool collecting = false;

    while (1)
    {
		if (features_ready)
		{
			// doing inference, skip
			k_msleep(200);
			last_state = gpio_pin_get_dt(&sw0);
			continue;
		}

		int button_state = gpio_pin_get_dt(&sw0);
		if (button_state == 1 && last_state == 0) {
			printk("Start Collection\n");
			collecting = true;
		}

		if (!collecting) {
			last_state = button_state;
			k_msleep(200);
			continue;
		}


		uint32_t start = k_cycle_get_32();
        // if ((count % 10) == 0U) {
		// 	sprintf(out_str, "a x:%.1f y:%.1f z:%.1f\ng x:%.1f y:%.1f z:%.1f\n",
		// 					  out_ev(&accel_x_out),
		// 					  out_ev(&accel_y_out),
		// 					  out_ev(&accel_z_out),
		// 					  out_ev(&gyro_x_out),
		// 					  out_ev(&gyro_y_out),
		// 					  out_ev(&gyro_z_out));
        //     // log out_str
        //     printk("%s", out_str);
    	// }
		
		// Update IMU
		// accel in m/s^2, gyro in rad/s
		imu.raw.ax = out_ev(&accel_x_out);
		imu.raw.ay = out_ev(&accel_y_out);
		imu.raw.az = out_ev(&accel_z_out);
		imu.raw.gx = out_ev(&gyro_x_out);
		imu.raw.gy = out_ev(&gyro_y_out);
		imu.raw.gz = out_ev(&gyro_z_out);

		// fill the features array
		features[features_counter*6] = imu.raw.ax;
		features[features_counter*6+1] = imu.raw.ay;
		features[features_counter*6+2] = imu.raw.az;
		features[features_counter*6+3] = imu.raw.gx;
		features[features_counter*6+4] = imu.raw.gy;
		features[features_counter*6+5] = imu.raw.gz;
		features_counter++;

		if (features_counter >= 300) {
			features_ready = true;
			features_counter = 0;
			collecting = false;
			printk("Features ready\n");
		}


		const FusionVector accelerometer = {
			.array = {
				imu.raw.ax / ATL_LOCAL_G,
				imu.raw.ay / ATL_LOCAL_G,
				imu.raw.az / ATL_LOCAL_G
			}
		};
        const FusionVector gyroscope = {
			.array = {
				imu.raw.gx * 180.0f / M_PI,
				imu.raw.gy * 180.0f / M_PI,
				imu.raw.gz * 180.0f / M_PI
			}
		};

        FusionAhrsUpdateNoMagnetometer(&ahrs, gyroscope, accelerometer, SAMPLE_PERIOD);

		const FusionQuaternion quaternion = FusionAhrsGetQuaternion(&ahrs);
		euler = FusionQuaternionToEuler(quaternion);

		// update quaternion
		imu.state.qw = quaternion.element.w;
		imu.state.qx = quaternion.element.x;
		imu.state.qy = quaternion.element.y;
		imu.state.qz = quaternion.element.z;

		// perform dead reckoning
		FusionVector accel = FusionAhrsGetEarthAcceleration(&ahrs);
		// convert to m/s^2
		imu.state.ax = accel.axis.x * ATL_LOCAL_G;
		imu.state.ay = accel.axis.y * ATL_LOCAL_G;
		imu.state.az = accel.axis.z * ATL_LOCAL_G;

		if (fabs(imu.state.ax*imu.state.ax + imu.state.ay*imu.state.ay + imu.state.az*imu.state.az) < 1) {
			imu.state.ax = 0;
			imu.state.ay = 0;
			imu.state.az = 0;
			imu.state.vx *= 0.9;
			imu.state.vy *= 0.9;
			imu.state.vz *= 0.9;
		}

		imu.state.vx += imu.state.ax * SAMPLE_PERIOD;
		imu.state.vy += imu.state.ay * SAMPLE_PERIOD;
		imu.state.vz += imu.state.az * SAMPLE_PERIOD;

		imu.state.px += imu.state.vx * SAMPLE_PERIOD;
		imu.state.py += imu.state.vy * SAMPLE_PERIOD;
		imu.state.pz += imu.state.vz * SAMPLE_PERIOD;

		// send position over UART
		// sprintf(out_str, "p x:%.1f y:%.1f z:%.1f\n", imu.state.px, imu.state.py, imu.state.pz);
		// if (!uartSending) {
			uartSending = true;
			frame.fdata[0] = imu.state.qw;
			frame.fdata[1] = imu.state.qx;
			frame.fdata[2] = imu.state.qy;
			frame.fdata[3] = imu.state.qz;
			// sprintf(out_str, "px:%.6f,%.6f,%.6f,%.6f\n\0", imu.state.qw, imu.state.qx, imu.state.qy, imu.state.qz);
			sprintf(out_str, "%.6f,%.6f,%.6f,%.6f,%.6f,%.6f\n", imu.raw.ax, imu.raw.ay, imu.raw.az, imu.raw.gx, imu.raw.gy, imu.raw.gz);
			// sprintf(out_str, "%.6f\n", imu.raw.ax);
			uart_tx(uart_dev, out_str, strlen(out_str), SYS_FOREVER_US);
			// uart_tx(uart_dev, (const char *)&frame, sizeof(frame), SYS_FOREVER_US);
		// }

        count++;
		uint32_t end = k_cycle_get_32();
		int64_t elapsed_time = end - start;
		elapsed_time = k_cyc_to_us_floor64(elapsed_time);
        // k_msleep(1000 * SAMPLE_PERIOD - elapsed_time);
		k_usleep(1000000 * SAMPLE_PERIOD - elapsed_time);
    }
}

K_THREAD_DEFINE(imu_tid, 128 * 20,
                imu_task, NULL, NULL, NULL,
                5, 0, 0);
```

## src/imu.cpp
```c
#include <zephyr/device.h>
#include <zephyr/devicetree.h>
#include <zephyr/drivers/sensor.h>
#include <zephyr/drivers/gpio.h>
#include <zephyr/kernel.h>
#include <imu.h>
#include <zephyr/drivers/uart.h>
#include <state_machine.h>

FusionEuler euler;

FusionEuler getEuler()
{
	return euler;
}

#define SAMPLE_PERIOD (0.01f) // replace this with actual sample period

#define LOG_LEVEL CONFIG_LOG_DEFAULT_LEVEL
#include <zephyr/logging/log.h>
LOG_MODULE_REGISTER(imu);

static inline float out_ev(struct sensor_value *val)
{
	return (val->val1 + (float)val->val2 / 1000000);
}

static int print_samples;
static int lsm6dsl_trig_cnt;

static struct sensor_value accel_x_out, accel_y_out, accel_z_out;
static struct sensor_value gyro_x_out, gyro_y_out, gyro_z_out;

#ifdef CONFIG_LSM6DSL_TRIGGER
static void lsm6dsl_trigger_handler(const struct device *dev,
				    const struct sensor_trigger *trig)
{
	static struct sensor_value accel_x, accel_y, accel_z;
	static struct sensor_value gyro_x, gyro_y, gyro_z;

	lsm6dsl_trig_cnt++;
	// printk("lsm6dsl_trig_cnt: %d\n", lsm6dsl_trig_cnt);

	sensor_sample_fetch_chan(dev, SENSOR_CHAN_ACCEL_XYZ);
	sensor_channel_get(dev, SENSOR_CHAN_ACCEL_X, &accel_x);
	sensor_channel_get(dev, SENSOR_CHAN_ACCEL_Y, &accel_y);
	sensor_channel_get(dev, SENSOR_CHAN_ACCEL_Z, &accel_z);

	/* lsm6dsl gyro */
	sensor_sample_fetch_chan(dev, SENSOR_CHAN_GYRO_XYZ);
	sensor_channel_get(dev, SENSOR_CHAN_GYRO_X, &gyro_x);
	sensor_channel_get(dev, SENSOR_CHAN_GYRO_Y, &gyro_y);
	sensor_channel_get(dev, SENSOR_CHAN_GYRO_Z, &gyro_z);

	accel_x_out = accel_x;
	accel_y_out = accel_y;
	accel_z_out = accel_z;

	gyro_x_out = gyro_x;
	gyro_y_out = gyro_y;
	gyro_z_out = gyro_z;

}
#endif

#define ATL_LOCAL_G (9.80665f)

#define UART_DEVICE_NODE DT_NODELABEL(xiao_serial)
static const struct device *const uart_dev = DEVICE_DT_GET(UART_DEVICE_NODE);

IMU imu = {0};

#define CH_COUNT 7
struct Frame {
	float fdata[CH_COUNT];
	unsigned char tail[4];
} __attribute__((packed));

struct Frame frame = {
	.tail = {0x00, 0x00, 0x80, 0x7f}
};


float features[1800] = {0};
volatile bool features_ready = false;
volatile bool collecting = false;

volatile int features_counter = 0;

int imu_task(void)
{
    int cnt = 0;
	char out_str[64];
	struct sensor_value odr_attr;
	const struct device *const lsm6dsl_dev = DEVICE_DT_GET_ONE(st_lsm6dsl);

	if (!device_is_ready(lsm6dsl_dev)) {
		printk("sensor: device not ready.\n");
		return 0;
	}

	/* set accel/gyro sampling frequency to 104 Hz */
	// odr_attr.val1 = 104;
	// odr_attr.val2 = 0;

	// if (sensor_attr_set(lsm6dsl_dev, SENSOR_CHAN_ACCEL_XYZ,
	// 		    SENSOR_ATTR_SAMPLING_FREQUENCY, &odr_attr) < 0) {
	// 	printk("Cannot set sampling frequency for accelerometer.\n");
	// 	return 0;
	// }

	// if (sensor_attr_set(lsm6dsl_dev, SENSOR_CHAN_GYRO_XYZ,
	// 		    SENSOR_ATTR_SAMPLING_FREQUENCY, &odr_attr) < 0) {
	// 	printk("Cannot set sampling frequency for gyro.\n");
	// 	return 0;
	// }

#ifdef CONFIG_LSM6DSL_TRIGGER
	struct sensor_trigger trig;

	trig.type = SENSOR_TRIG_DATA_READY;
	trig.chan = SENSOR_CHAN_ACCEL_XYZ;

	if (sensor_trigger_set(lsm6dsl_dev, &trig, lsm6dsl_trigger_handler) != 0) {
		printk("Could not set sensor type and channel\n");
		while (1)
			;
	}
#endif

	if (sensor_sample_fetch(lsm6dsl_dev) < 0) {
		printk("Sensor sample update error\n");
		while (1)
			;
	}
	
    uint32_t count = 0;

	FusionAhrs ahrs;
	// TODO add calibration here
    FusionAhrsInitialise(&ahrs);

	

    while (1)
    {
		if (state == COLLECT_DATA)
		{
			if (!collecting && !features_ready)
			{
				printk("Start Collecting data\n");
				collecting = true;
				features_counter = 0;
			}
			uint32_t start = k_cycle_get_32();
			
			// Update IMU
			// accel in m/s^2, gyro in rad/s
			imu.raw.ax = out_ev(&accel_x_out);
			imu.raw.ay = out_ev(&accel_y_out);
			imu.raw.az = out_ev(&accel_z_out);
			imu.raw.gx = out_ev(&gyro_x_out);
			imu.raw.gy = out_ev(&gyro_y_out);
			imu.raw.gz = out_ev(&gyro_z_out);

			// fill the features array
			features[features_counter*6] = imu.raw.ax;
			features[features_counter*6+1] = imu.raw.ay;
			features[features_counter*6+2] = imu.raw.az;
			features[features_counter*6+3] = imu.raw.gx;
			features[features_counter*6+4] = imu.raw.gy;
			features[features_counter*6+5] = imu.raw.gz;
			features_counter++;

			if (features_counter >= 300) {
				features_ready = true;
				features_counter = 0;
				collecting = false;
				printk("Features ready\n");
			}


			// const FusionVector accelerometer = {
			// 	.array = {
			// 		imu.raw.ax / ATL_LOCAL_G,
			// 		imu.raw.ay / ATL_LOCAL_G,
			// 		imu.raw.az / ATL_LOCAL_G
			// 	}
			// };
			// const FusionVector gyroscope = {
			// 	.array = {
			// 		imu.raw.gx * 180.0f / M_PI,
			// 		imu.raw.gy * 180.0f / M_PI,
			// 		imu.raw.gz * 180.0f / M_PI
			// 	}
			// };

			// FusionAhrsUpdateNoMagnetometer(&ahrs, gyroscope, accelerometer, SAMPLE_PERIOD);

			// const FusionQuaternion quaternion = FusionAhrsGetQuaternion(&ahrs);
			// euler = FusionQuaternionToEuler(quaternion);

			// // update quaternion
			// imu.state.qw = quaternion.element.w;
			// imu.state.qx = quaternion.element.x;
			// imu.state.qy = quaternion.element.y;
			// imu.state.qz = quaternion.element.z;

			// // perform dead reckoning
			// FusionVector accel = FusionAhrsGetEarthAcceleration(&ahrs);
			// // convert to m/s^2
			// imu.state.ax = accel.axis.x * ATL_LOCAL_G;
			// imu.state.ay = accel.axis.y * ATL_LOCAL_G;
			// imu.state.az = accel.axis.z * ATL_LOCAL_G;

			// if (fabs(imu.state.ax*imu.state.ax + imu.state.ay*imu.state.ay + imu.state.az*imu.state.az) < 1) {
			// 	imu.state.ax = 0;
			// 	imu.state.ay = 0;
			// 	imu.state.az = 0;
			// 	imu.state.vx *= 0.9;
			// 	imu.state.vy *= 0.9;
			// 	imu.state.vz *= 0.9;
			// }

			// imu.state.vx += imu.state.ax * SAMPLE_PERIOD;
			// imu.state.vy += imu.state.ay * SAMPLE_PERIOD;
			// imu.state.vz += imu.state.az * SAMPLE_PERIOD;

			// imu.state.px += imu.state.vx * SAMPLE_PERIOD;
			// imu.state.py += imu.state.vy * SAMPLE_PERIOD;
			// imu.state.pz += imu.state.vz * SAMPLE_PERIOD;
			uint32_t end = k_cycle_get_32();
			int64_t elapsed_time = end - start;
			elapsed_time = k_cyc_to_us_floor64(elapsed_time);
			// k_msleep(1000 * SAMPLE_PERIOD - elapsed_time);
			k_usleep(1000000 * SAMPLE_PERIOD - elapsed_time);
		}
		else
		{
			k_msleep(100); // wait for inference
		}
    }
}

K_THREAD_DEFINE(imu_tid, 128 * 10,
                imu_task, NULL, NULL, NULL,
                5, 0, 0);
```
